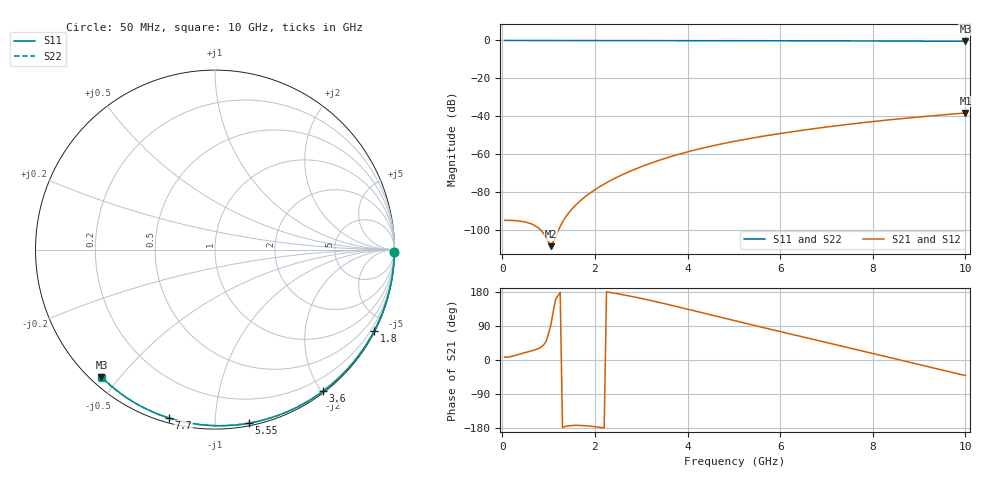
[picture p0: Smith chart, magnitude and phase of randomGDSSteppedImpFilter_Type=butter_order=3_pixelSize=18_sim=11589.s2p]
! freq	dB(S11)	phase(S11)	dB(S12)	phase(S12)
!  dB(S21)	phase(S21)	dB(S22)	phase(S22)
!S-par simulation data
#  GHz  S  DB  R 50
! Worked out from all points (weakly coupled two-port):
!   200 points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, 50 MHz to 10 GHz, reference 50 ohm
!   highest |S21| = -38.25 dB at 10 GHz (marker M1); lowest = -108.5 dB at 1.05 GHz (marker M2)
!   lowest |S11| = -0.4 dB at 10 GHz (marker M3), VSWR 39.15, Z = 1.53 - j22.4 ohm
!   |S11| at or under -10 dB: nowhere
!   |S22| runs from -0.4 to 0.0 dB; largest |S21 - S12| = 0
!   S11 on the Smith chart (normalised r, x): 50 MHz: open; 1.8 GHz: 0.04, -4.17; 3.6 GHz: 0.02, -2.01; 5.55 GHz: 0.02, -1.22; 7.7 GHz: 0.02, -0.76; 10 GHz: 0.03, -0.45
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0.05  -0.00 -0.8  -94.89 7.9  -94.89 7.9  -0.00 -0.8
0.55  -0.01 -8.3  -96.14 21.2  -96.14 21.2  -0.01 -8.3
1.05  -0.02 -15.9  -108.52 93.5  -108.52 93.5  -0.02 -15.8
1.75  -0.03 -26.3  -83.21 -173.1  -83.21 -173.1  -0.03 -26.2
1.8  -0.03 -27.0  -82.23 -173.5  -82.23 -173.5  -0.03 -26.9
1.9  -0.04 -28.5  -80.42 -174.6  -80.42 -174.6  -0.04 -28.4
1.95  -0.04 -29.2  -79.57 -175.3  -79.57 -175.3  -0.04 -29.1
2.25  -0.04 -33.6  -75.06 179.8  -75.06 179.8  -0.04 -33.5
2.55  -0.05 -37.9  -71.30 173.5  -71.30 173.5  -0.05 -37.8
2.95  -0.06 -43.6  -67.08 163.8  -67.08 163.8  -0.06 -43.5
3.4  -0.07 -50.0  -63.11 151.6  -63.11 151.6  -0.07 -49.8
3.6  -0.07 -52.8  -61.56 145.9  -61.56 145.9  -0.07 -52.6
3.9  -0.08 -56.9  -59.44 137.1  -59.44 137.1  -0.08 -56.7
4.3  -0.09 -62.4  -56.94 125.2  -56.94 125.2  -0.09 -62.2
5.05  -0.11 -72.4  -53.04 102.7  -53.04 102.7  -0.11 -72.1
5.55  -0.13 -78.8  -50.86 88.0  -50.86 88.0  -0.13 -78.6
6.1  -0.15 -85.8  -48.72 72.1  -48.72 72.1  -0.15 -85.5
6.7  -0.18 -93.3  -46.64 54.8  -46.64 54.8  -0.18 -92.9
7.7  -0.24 -105.3  -43.60 25.9  -43.60 25.9  -0.24 -104.9
8.35  -0.29 -112.9  -41.89 7.0  -41.89 7.0  -0.29 -112.5
9.15  -0.36 -122.1  -40.04 -16.4  -40.04 -16.4  -0.35 -121.7
10  -0.44 -131.7  -38.25 -41.1  -38.25 -41.1  -0.43 -131.2
